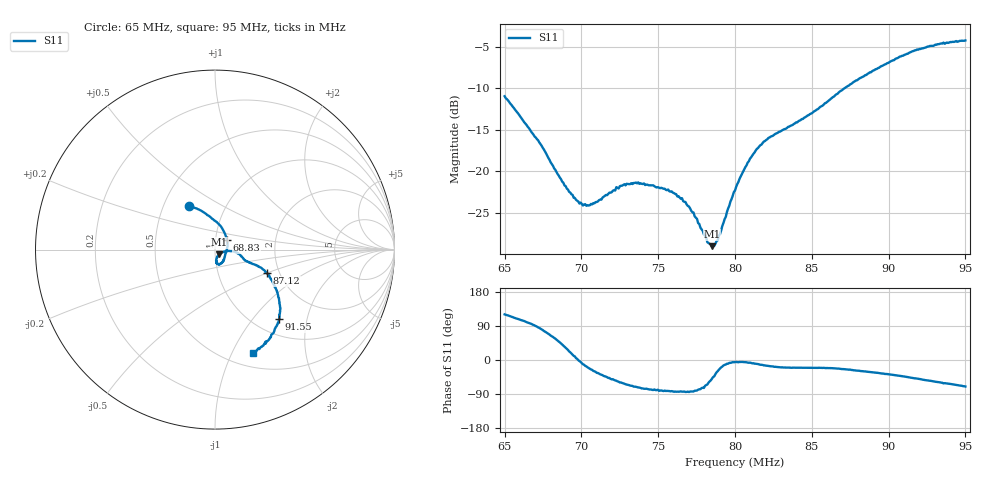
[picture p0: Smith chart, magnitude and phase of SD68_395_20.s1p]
! NanoVNA-App
! Date: 2025-08-02 16:06:09
! Start: 65MHz Stop: 95MHz Points: 401
! S-Parameter data: F S11
# Hz S RI R 50
!  Frequency  S11_Real  S11_Imag
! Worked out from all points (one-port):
!   401 points, 65 MHz to 95 MHz, reference 50 ohm
!   lowest |S11| = -29.0 dB at 78.5 MHz (marker M1), VSWR 1.07, Z = 52.3 - j2.82 ohm
!   |S11| at or under -10 dB: start of sweep to 87.14 MHz
!   S11 on the Smith chart (normalised r, x): 65 MHz: 0.67, +0.36; 68.83 MHz: 1.14, +0.12; 87.12 MHz: 1.72, -0.50; 91.55 MHz: 1.28, -1.38; 95 MHz: 0.66, -1.20
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6.5e7  -0.1432 0.244
6.725e7  0.0135 0.1492
6.875e7  0.0654 0.057
6.8825e7  0.0674 0.0526
6.9725e7  0.0666 0.00352
7.04e7  0.0591 -0.0207
7.25e7  0.0415 -0.0701
7.37e7  0.0258 -0.0819
7.55e7  0.011 -0.0767
7.625e7  0.0079 -0.0702
7.715e7  0.00697 -0.0576
7.8125e7  0.0162 -0.0364
7.85e7  0.0232 -0.0269
7.8725e7  0.0293 -0.0222
7.895e7  0.0371 -0.0178
8e7  0.0764 -0.00765
8.0825e7  0.1121 -0.0134
8.15e7  0.1357 -0.0258
8.225e7  0.1536 -0.0444
8.375e7  0.1784 -0.0658
8.585e7  0.2395 -0.0919
8.7125e7  0.2879 -0.1298
8.75e7  0.3015 -0.1428
8.9525e7  0.3493 -0.2488
9.125e7  0.3573 -0.363
9.155e7  0.3567 -0.3881
9.3425e7  0.2951 -0.5074
9.5e7  0.2099 -0.5749
